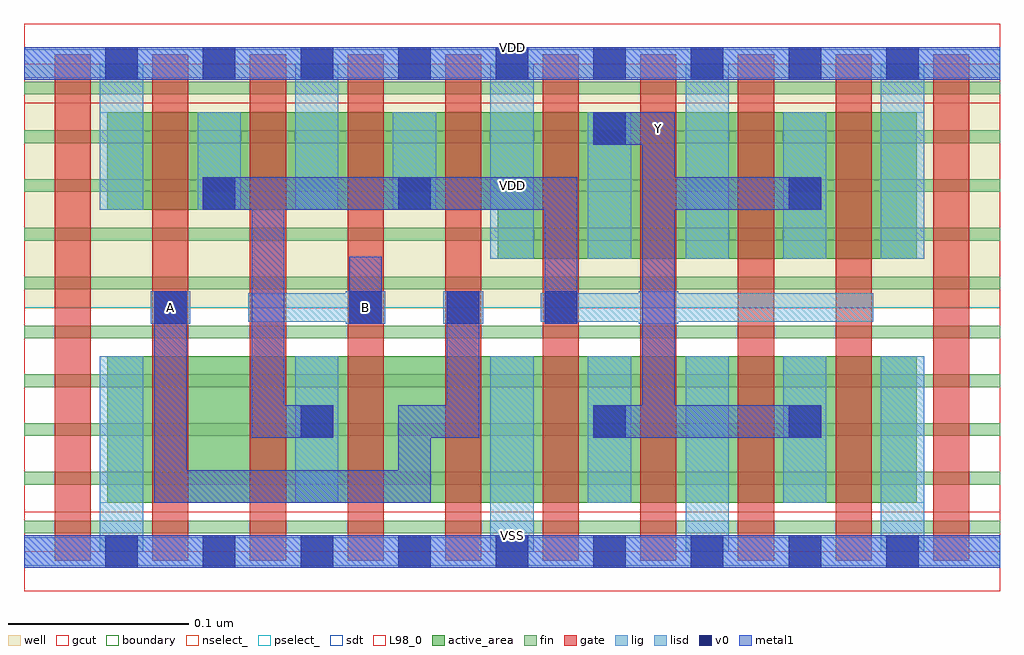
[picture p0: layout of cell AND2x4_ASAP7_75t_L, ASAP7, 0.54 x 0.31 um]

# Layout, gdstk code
import gdstk
lib = gdstk.Library(unit=1e-6, precision=2.5e-10)
def R(c, l, rs):  # rectangles x0, y0, x1, y1
    for r in rs: c.add(gdstk.rectangle(r[:2], r[2:], *l))
def A(c, l, x, y, w, h, nx, ny, dx, dy):  # array of equal rectangles
    R(c, l, [(x+i*dx, y+j*dy, x+i*dx+w, y+j*dy+h) for i in range(nx) for j in range(ny)])
def P(c, l, *ps):  # polygons
    for p in ps: c.add(gdstk.Polygon(p, *l))
well = (1, 0)
fin = (2, 0)
gate = (7, 0)
gcut = (10, 0)
active_area = (11, 0)
nselect_ = (12, 0)
pselect_ = (13, 0)
lig = (16, 0)
lisd = (17, 0)
v0 = (18, 0)
metal1 = (19, 0)
sdt = (88, 0)
L98_0 = (98, 0)
boundary = (100, 0)

and2x4_asap7_75t_l = lib.new_cell('AND2x4_ASAP7_75t_L')
R(and2x4_asap7_75t_l, well, [(0,0.135,0.54,0.27)])
A(and2x4_asap7_75t_l, fin, 0, 0.01, 0.54, 0.007, 1, 10, 0, 0.027)
A(and2x4_asap7_75t_l, gate, 0.017, -0.005, 0.02, 0.28, 10, 1, 0.054, 0)
R(and2x4_asap7_75t_l, gcut, [(0,-0.022,0.54,0.022), (0,0.248,0.54,0.292)])
R(and2x4_asap7_75t_l, active_area, [(0.046,0.027,0.494,0.108)])
P(and2x4_asap7_75t_l, active_area, [(0.046,0.189),(0.262,0.189),(0.262,0.162),(0.494,0.162),(0.494,0.243),(0.046,0.243)])
R(and2x4_asap7_75t_l, nselect_, [(0,0,0.54,0.135)])
R(and2x4_asap7_75t_l, pselect_, [(0,0.135,0.54,0.27)])
R(and2x4_asap7_75t_l, lig, [(0,-0.008,0.54,0.008), (0.07,0.126,0.092,0.144), (0.178,0.126,0.2,0.144), (0.232,0.126,0.254,0.144), (0.34,0.126,0.362,0.144), (0.124,0.127,0.2,0.143), (0.286,0.127,0.47,0.143), (0,0.262,0.54,0.278)])
R(and2x4_asap7_75t_l, lisd, [(0.042,0,0.066,0.108), (0.042,0,0.066,0.108), (0.258,0,0.282,0.108), (0.258,0,0.282,0.108), (0.366,0,0.39,0.108), (0.366,0,0.39,0.108), (0.474,0,0.498,0.108), (0.474,0,0.498,0.108), (0.15,0.027,0.174,0.108), (0.312,0.027,0.336,0.108), (0.42,0.027,0.444,0.108), (0.258,0.162,0.282,0.27), (0.258,0.162,0.282,0.27), (0.312,0.162,0.336,0.243), (0.366,0.162,0.39,0.27), (0.366,0.162,0.39,0.27), (0.42,0.162,0.444,0.243), (0.474,0.162,0.498,0.27), (0.474,0.162,0.498,0.27), (0.042,0.189,0.066,0.27), (0.042,0.189,0.066,0.27), (0.096,0.189,0.12,0.243), (0.15,0.189,0.174,0.27), (0.15,0.189,0.174,0.27), (0.204,0.189,0.228,0.243)])
A(and2x4_asap7_75t_l, v0, 0.045, -0.009, 0.018, 0.018, 9, 2, 0.054, 0.27)
A(and2x4_asap7_75t_l, v0, 0.18, 0.126, 0.018, 0.018, 3, 1, 0.054, 0)
R(and2x4_asap7_75t_l, v0, [(0.153,0.063,0.171,0.081), (0.315,0.063,0.333,0.081), (0.423,0.063,0.441,0.081), (0.072,0.126,0.09,0.144), (0.099,0.189,0.117,0.207), (0.207,0.189,0.225,0.207), (0.423,0.189,0.441,0.207), (0.315,0.225,0.333,0.243)])
A(and2x4_asap7_75t_l, metal1, 0.18, 0.126, 0.018, 0.018, 3, 1, 0.054, 0)
R(and2x4_asap7_75t_l, metal1, [(0,-0.009,0.54,0.009), (0.153,0.063,0.171,0.081), (0.315,0.063,0.333,0.081), (0.423,0.063,0.441,0.081), (0.072,0.126,0.09,0.144), (0.18,0.126,0.198,0.163), (0.099,0.189,0.117,0.207), (0.207,0.189,0.225,0.207), (0.423,0.189,0.441,0.207), (0.315,0.225,0.333,0.243), (0,0.261,0.54,0.279)])
P(and2x4_asap7_75t_l, metal1, [(0.252,0.144),(0.234,0.144),(0.234,0.081),(0.207,0.081),(0.207,0.045),(0.09,0.045),(0.09,0.144),(0.072,0.144),(0.072,0.027),(0.225,0.027),(0.225,0.063),(0.252,0.063)],
  [(0.306,0.126),(0.306,0.207),(0.099,0.207),(0.099,0.189),(0.126,0.189),(0.126,0.063),(0.171,0.063),(0.171,0.081),(0.144,0.081),(0.144,0.189),(0.288,0.189),(0.288,0.126)],
  [(0.441,0.207),(0.36,0.207),(0.36,0.243),(0.315,0.243),(0.315,0.225),(0.342,0.225),(0.342,0.081),(0.315,0.081),(0.315,0.063),(0.441,0.063),(0.441,0.081),(0.36,0.081),(0.36,0.189),(0.441,0.189)])
A(and2x4_asap7_75t_l, sdt, 0.042, 0.027, 0.024, 0.081, 3, 1, 0.108, 0)
A(and2x4_asap7_75t_l, sdt, 0.258, 0.027, 0.024, 0.081, 3, 2, 0.054, 0.135)
A(and2x4_asap7_75t_l, sdt, 0.366, 0.027, 0.024, 0.081, 3, 2, 0.054, 0.135)
A(and2x4_asap7_75t_l, sdt, 0.042, 0.189, 0.024, 0.054, 3, 1, 0.054, 0)
R(and2x4_asap7_75t_l, sdt, [(0.042,0.027,0.066,0.108), (0.474,0.027,0.498,0.108), (0.258,0.162,0.282,0.243), (0.474,0.162,0.498,0.243), (0.042,0.189,0.066,0.243), (0.15,0.189,0.174,0.243), (0.204,0.189,0.228,0.243)])
R(and2x4_asap7_75t_l, L98_0, [(0,0,0.54,0.27)])
R(and2x4_asap7_75t_l, boundary, [(0,0,0.54,0.27)])
and2x4_asap7_75t_l.add(gdstk.Label('VDD', (0.27,0.2025), layer=1, texttype=251))
and2x4_asap7_75t_l.add(gdstk.Label('VSS', (0.27,-0.0675), layer=3, texttype=251))
and2x4_asap7_75t_l.add(gdstk.Label('VSS', (0.27,0.009), layer=19, texttype=251))
and2x4_asap7_75t_l.add(gdstk.Label('VDD', (0.27,0.279), layer=19, texttype=251))
and2x4_asap7_75t_l.add(gdstk.Label('A', (0.081,0.135), layer=19, texttype=251))
and2x4_asap7_75t_l.add(gdstk.Label('B', (0.189,0.135), layer=19, texttype=251))
and2x4_asap7_75t_l.add(gdstk.Label('Y', (0.351,0.234), layer=19, texttype=251))

lib.write_gds('AND2x4_ASAP7_75t_L.gds')
